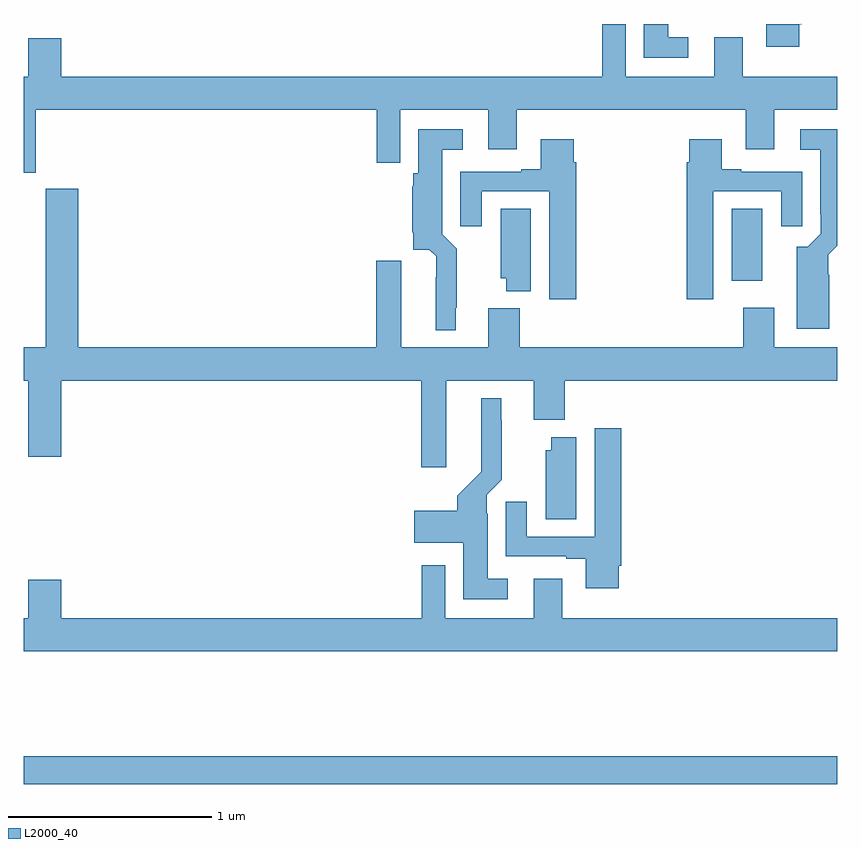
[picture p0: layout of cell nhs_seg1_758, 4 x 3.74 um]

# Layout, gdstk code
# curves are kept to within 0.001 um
import gdstk
lib = gdstk.Library(unit=1e-6, precision=1e-09)
def R(c, l, rs):  # rectangles x0, y0, x1, y1
    for r in rs: c.add(gdstk.rectangle(r[:2], r[2:], *l))
def P(c, l, *ps):  # polygons
    for p in ps: c.add(gdstk.Polygon(p, *l))
L2000_40 = (2000, 40)

nhs_seg1_758 = lib.new_cell('nhs_seg1_758')
R(nhs_seg1_758, L2000_40, [(153,504.46,157,504.596), (156.482,506.937,156.631,507.29)])
P(nhs_seg1_758, L2000_40, [(156.814,508.198),(156.827,508.198),(156.827,508.199),(156.653,508.199),(156.653,508.086),(156.814,508.086)],
  [(153.058,507.776),(154.735,507.776),(154.735,507.516),(154.851,507.516),(154.851,507.776),(155.285,507.776),(155.285,507.582),(155.425,507.582),(155.425,507.776),(156.551,507.776),(156.551,507.582),(156.691,507.582),(156.691,507.776),(157,507.776),(157,507.94),(156.535,507.94),(156.535,508.135),(156.395,508.135),(156.395,507.94),(155.961,507.94),(155.961,508.199),(155.845,508.199),(155.845,507.94),(153.184,507.94),(153.184,508.129),(153.02,508.129),(153.02,507.94),(153,507.94),(153,507.467),(153.058,507.467)],
  [(156.268,508.135),(156.169,508.135),(156.169,508.199),(156.05,508.199),(156.05,508.034),(156.268,508.034)],
  [(155.125,506.803),(155.129,506.803),(155.129,507.094),(155.059,507.164),(155.059,507.581),(155.158,507.581),(155.158,507.682),(154.94,507.682),(154.94,507.465),(154.916,507.465),(154.916,507.402),(154.91,507.402),(154.91,507.176),(154.916,507.17),(154.916,507.089),(154.995,507.089),(155.028,507.056),(155.027,506.693),(155.125,506.693)],
  [(156.961,506.966),(156.957,506.966),(156.957,507.064),(157,507.107),(157,507.682),(156.819,507.682),(156.819,507.581),(156.917,507.581),(156.917,507.262),(156.921,507.262),(156.921,507.168),(156.855,507.102),(156.803,507.102),(156.803,506.699),(156.961,506.699)],
  [(156.391,507.375),(156.725,507.375),(156.725,507.204),(156.829,507.204),(156.829,507.471),(156.529,507.471),(156.529,507.484),(156.433,507.484),(156.433,507.631),(156.272,507.631),(156.272,507.518),(156.26,507.518),(156.26,506.844),(156.391,506.844)],
  [(155.717,507.518),(155.704,507.518),(155.704,507.631),(155.543,507.631),(155.543,507.484),(155.447,507.484),(155.447,507.471),(155.147,507.471),(155.147,507.204),(155.251,507.204),(155.251,507.375),(155.585,507.375),(155.585,506.844),(155.717,506.844)],
  [(155.077,506.444),(155.507,506.444),(155.507,506.252),(155.66,506.252),(155.66,506.444),(157,506.444),(157,506.608),(156.691,506.608),(156.691,506.803),(156.539,506.803),(156.539,506.608),(155.438,506.608),(155.438,506.8),(155.285,506.8),(155.285,506.608),(154.855,506.608),(154.855,507.034),(154.733,507.034),(154.733,506.608),(153.266,506.608),(153.266,507.388),(153.106,507.388),(153.106,506.608),(153,506.608),(153,506.444),(153.02,506.444),(153.02,506.07),(153.184,506.07),(153.184,506.444),(154.955,506.444),(154.955,506.019),(155.077,506.019)],
  [(155.494,507.29),(155.345,507.29),(155.345,506.949),(155.372,506.949),(155.372,506.885),(155.494,506.885)],
  [(155.38,505.471),(155.281,505.471),(155.281,505.79),(155.277,505.79),(155.277,505.884),(155.351,505.958),(155.351,506.249),(155.347,506.249),(155.347,506.359),(155.249,506.359),(155.25,505.996),(155.132,505.878),(155.132,505.804),(154.92,505.804),(154.92,505.646),(155.162,505.646),(155.162,505.37),(155.38,505.37)],
  [(155.926,505.534),(155.939,505.534),(155.939,506.209),(155.807,506.209),(155.807,505.677),(155.473,505.677),(155.473,505.849),(155.369,505.849),(155.369,505.581),(155.669,505.581),(155.669,505.569),(155.765,505.569),(155.765,505.422),(155.926,505.422)],
  [(155.716,506.167),(155.594,506.167),(155.594,506.103),(155.567,506.103),(155.567,505.762),(155.716,505.762)],
  [(157,505.276),(155.647,505.276),(155.647,505.471),(155.507,505.471),(155.507,505.276),(155.073,505.276),(155.073,505.537),(154.957,505.537),(154.957,505.276),(153.184,505.276),(153.184,505.465),(153.02,505.465),(153.02,505.276),(153,505.276),(153,505.112),(157,505.112)])

lib.write_gds('nhs_seg1_758.gds')
